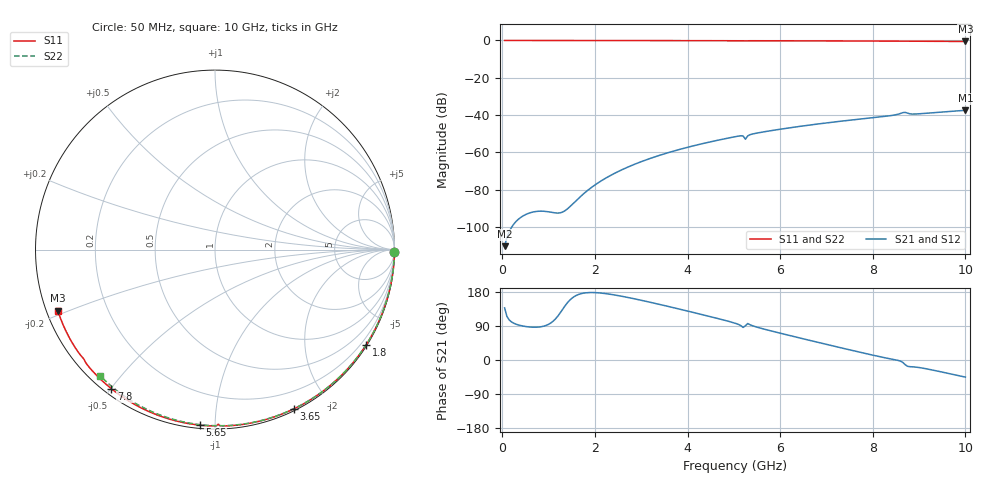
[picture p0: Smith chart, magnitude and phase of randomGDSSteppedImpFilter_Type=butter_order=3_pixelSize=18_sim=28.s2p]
! freq	dB(S11)	phase(S11)	dB(S12)	phase(S12)
!  dB(S21)	phase(S21)	dB(S22)	phase(S22)
!S-par simulation data
#  GHz  S  DB  R 50
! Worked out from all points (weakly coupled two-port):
!   200 points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, 50 MHz to 10 GHz, reference 50 ohm
!   highest |S21| = -37.46 dB at 10 GHz (marker M1); lowest = -110.3 dB at 50 MHz (marker M2)
!   lowest |S11| = -0.5 dB at 10 GHz (marker M3), VSWR 32.15, Z = 1.61 - j9.37 ohm
!   |S11| at or under -10 dB: nowhere
!   |S22| runs from -0.4 to 0.0 dB; largest |S21 - S12| = 0
!   S11 on the Smith chart (normalised r, x): 50 MHz: open; 1.8 GHz: 0.03, -3.46; 3.65 GHz: 0.02, -1.61; 5.65 GHz: 0.02, -0.92; 7.8 GHz: 0.02, -0.50; 10 GHz: 0.03, -0.19
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0.05  -0.00 -0.9  -110.31 137.6  -110.31 137.6  -0.00 -0.8
0.9  -0.02 -16.3  -91.59 89.4  -91.59 89.4  -0.02 -13.7
1.75  -0.04 -31.4  -82.32 176.4  -82.32 176.4  -0.03 -26.4
1.8  -0.04 -32.2  -81.26 177.3  -81.26 177.3  -0.03 -27.2
1.85  -0.04 -33.1  -80.26 177.8  -80.26 177.8  -0.04 -27.9
2.2  -0.05 -39.2  -74.31 175.7  -74.31 175.7  -0.04 -33.0
2.6  -0.06 -46.1  -69.13 167.7  -69.13 167.7  -0.05 -38.9
3.4  -0.08 -59.5  -61.56 146.6  -61.56 146.6  -0.07 -50.3
3.65  -0.09 -63.6  -59.67 139.4  -59.67 139.4  -0.07 -53.8
4.3  -0.11 -74.2  -55.46 120.2  -55.46 120.2  -0.09 -62.7
5.05  -0.13 -86.0  -51.51 96.2  -51.51 96.2  -0.11 -72.7
5.2  -0.17 -88.5  -51.21 86.0  -51.21 86.0  -0.12 -74.7
5.25  -0.24 -88.9  -52.97 90.4  -52.97 90.4  -0.12 -75.4
5.3  -0.17 -89.4  -51.18 96.2  -51.18 96.2  -0.12 -76.0
5.35  -0.15 -90.3  -50.52 93.0  -50.52 93.0  -0.12 -76.7
5.65  -0.16 -95.0  -48.99 81.6  -48.99 81.6  -0.13 -80.5
6.7  -0.22 -110.7  -45.16 50.0  -45.16 50.0  -0.18 -93.7
7.8  -0.30 -126.6  -41.95 18.3  -41.95 18.3  -0.25 -107.0
8.35  -0.34 -134.6  -40.43 3.7  -40.43 3.7  -0.29 -113.4
8.7  -0.42 -139.8  -38.57 -12.4  -38.57 -12.4  -0.31 -117.5
8.9  -0.42 -142.5  -39.47 -18.3  -39.47 -18.3  -0.34 -119.8
10  -0.54 -158.8  -37.46 -45.2  -37.46 -45.2  -0.45 -132.3
